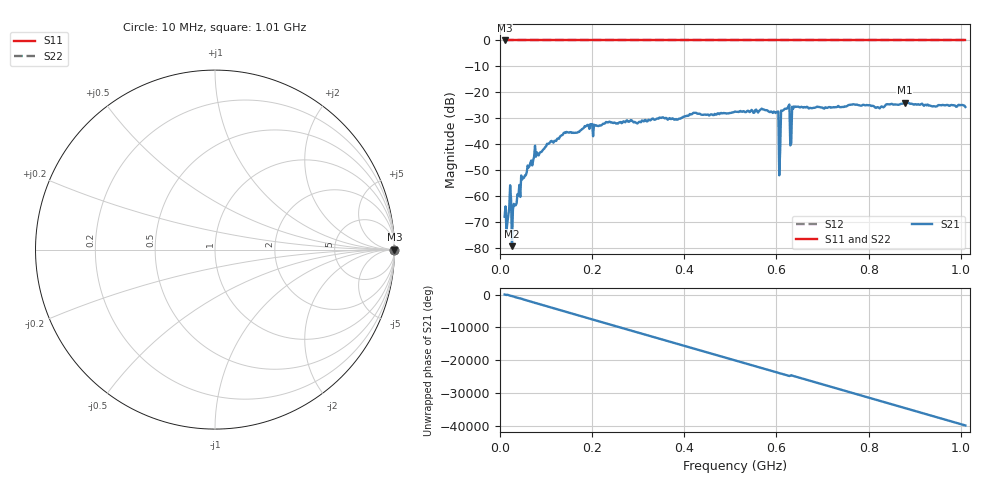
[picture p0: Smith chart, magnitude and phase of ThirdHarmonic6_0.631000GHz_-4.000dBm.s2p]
! 8/15/2025 8:48:33 PM
! C:\ANRITSUVNA\TEMP\TEMP.S2P
! CHANNEL.1
! TR.MEASUREMENT
! RAW.DATA
! RF.CORRECTION.OFF
! AVERAGING.OFF
! IF.BANDWIDTH: 5KHZ
! SWEEPTYPE:  FREQ.SWEEP(Linear)
! Reference Plane Port Info
! PORT:  PORT1  PORT2
! DISTANCE:  0  m  0  m
! TIME:  0  s  0  s
! PHASE.OFFSET:  0  deg.  0  deg.
! LOSS:  0  dB  0  dB
! REF.LOSS:  0  dB  0  dB
! REF.FREQ:  0  Hz  0  Hz
! Power Info
! POWER:  -20  dBm  -20  dBm
! EFF.POWER:  -20  dBm  -20  dBm
! SOURCE.ATTEN:  0  dB  0  dB
! TEST.ATTEN:  0  dB  0  dB
# GHZ S RI R 50.0
! FREQ.GHZ  S11RE  S11IM  S21RE  S21IM  S12RE  S12IM  S22RE  S22IM
!; PortSelection: Port_12
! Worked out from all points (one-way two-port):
!   501 points, 10 MHz to 1.01 GHz, reference 50 ohm
!   highest |S21| = -24.01 dB at 878 MHz (marker M1); lowest = -79.4 dB at 26 MHz (marker M2)
!   lowest |S11| = 0.0 dB at 10 MHz (marker M3)
!   |S11| at or under -10 dB: nowhere
!   |S22| runs from 0.0 to 0.0 dB; largest |S21 - S12| = 1.1
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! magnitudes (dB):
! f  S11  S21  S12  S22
! 10 MHz  0.0  -68.0  0.0  0.0
! 16 MHz  0.0  -70.3  0.0  0.0
! 20 MHz  0.0  -64.8  0.0  0.0
! 26 MHz  0.0  -79.4  0.0  0.0
! 30 MHz  0.0  -63.1  0.0  0.0
! 50 MHz  0.0  -53.1  0.0  0.0
! 78 MHz  0.0  -44.9  0.0  0.0
! 178 MHz  0.0  -34.2  0.0  0.0
! 344 MHz  0.0  -30.2  0.0  0.0
! 510 MHz  0.0  -27.4  0.0  0.0
! 600 MHz  0.0  -27.7  0.0  0.0
! 604 MHz  0.0  -27.4  0.0  0.0
! 610 MHz  0.0  -27.1  0.0  0.0
! 614 MHz  0.0  -27.0  0.0  0.0
! 624 MHz  0.0  -26.2  0.0  0.0
! 628 MHz  0.0  -24.7  0.0  0.0
! 634 MHz  0.0  -25.6  0.0  0.0
! 638 MHz  0.0  -25.5  0.0  0.0
! 678 MHz  0.0  -26.1  0.0  0.0
! 844 MHz  0.0  -24.6  0.0  0.0
! 878 MHz  0.0  -24.0  0.0  0.0
! 1.01 GHz  0.0  -25.7  0.0  0.0
